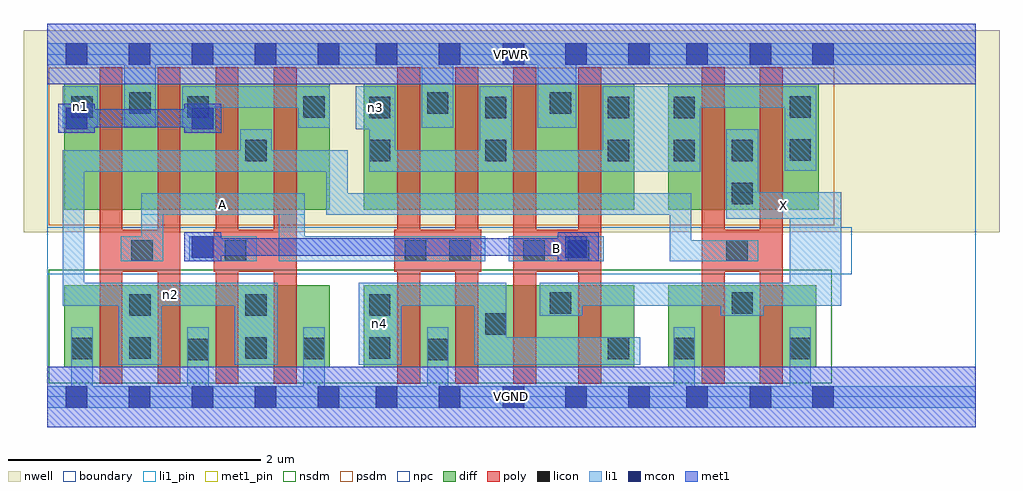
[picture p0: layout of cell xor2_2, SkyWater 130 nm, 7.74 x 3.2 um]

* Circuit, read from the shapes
.subckt xor2_2 A B VGND VPWR X n1 n2 n3 n4
XM1 n2 A VGND VSUBS sky130_fd_pr__nfet_01v8 w=0.65 l=0.18 m=2
XM2 n2 B VGND VSUBS sky130_fd_pr__nfet_01v8 w=0.65 l=0.18 m=2
XM3 VGND A n4 VSUBS sky130_fd_pr__nfet_01v8 w=0.65 l=0.18 m=2
XM4 X B n4 VSUBS sky130_fd_pr__nfet_01v8 w=0.65 l=0.18 m=2
XM5 X n2 VGND VSUBS sky130_fd_pr__nfet_01v8 w=0.65 l=0.18 m=2
XM6 VPWR A n1 n5 sky130_fd_pr__pfet_01v8 w=1 l=0.18 m=2
XM7 n2 B n1 n5 sky130_fd_pr__pfet_01v8 w=1 l=0.18 m=2
XM8 VPWR A n3 n5 sky130_fd_pr__pfet_01v8 w=1 l=0.18 m=2
XM9 VPWR B n3 n5 sky130_fd_pr__pfet_01v8 w=1 l=0.18 m=2
XM10 X n2 n3 n5 sky130_fd_pr__pfet_01v8 w=1 l=0.18 m=2
.ends

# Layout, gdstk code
import gdstk
lib = gdstk.Library(unit=1e-6, precision=1e-09)
def R(c, l, rs):  # rectangles x0, y0, x1, y1
    for r in rs: c.add(gdstk.rectangle(r[:2], r[2:], *l))
def A(c, l, x, y, w, h, nx, ny, dx, dy):  # array of equal rectangles
    R(c, l, [(x+i*dx, y+j*dy, x+i*dx+w, y+j*dy+h) for i in range(nx) for j in range(ny)])
nwell = (64, 20)
diff = (65, 20)
poly = (66, 20)
licon = (66, 44)
li1_pin = (67, 16)
li1 = (67, 20)
mcon = (67, 44)
met1_pin = (68, 16)
met1 = (68, 20)
nsdm = (93, 44)
psdm = (94, 20)
npc = (95, 20)
boundary = (235, 4)

xor2_2 = lib.new_cell('xor2_2')
R(xor2_2, nwell, [(-0.19,1.305,7.55,2.91), (0,1.305,7.36,2.91)])
R(xor2_2, diff, [(0.135,0.235,2.24,0.885), (2.51,0.235,4.655,0.885), (4.925,0.235,6.095,0.885), (0.135,1.485,2.24,2.485), (2.51,1.485,4.655,2.485), (4.925,1.485,6.115,2.485)])
A(xor2_2, poly, 0.415, 0.105, 0.18, 2.51, 4, 1, 0.46, 0)
A(xor2_2, poly, 2.775, 0.105, 0.18, 2.51, 3, 1, 0.46, 0)
R(xor2_2, poly, [(4.21,0.105,4.39,2.615), (5.19,0.105,5.37,2.615), (5.65,0.105,5.83,2.615), (0.415,0.995,1.055,1.325), (1.32,0.995,1.975,1.325), (2.75,0.995,3.44,1.325), (3.695,0.995,4.39,1.325), (5.19,0.995,5.83,1.325)])
A(xor2_2, licon, 0.19, 2.215, 0.17, 0.17, 3, 1, 0.92, 0)
R(xor2_2, licon, [(1.11,0.29,1.28,0.46), (3.01,0.29,3.18,0.46), (0.19,0.3,0.36,0.47), (2.03,0.3,2.2,0.47), (4.445,0.3,4.615,0.47), (4.965,0.3,5.135,0.47), (5.885,0.3,6.055,0.47), (0.65,0.305,0.82,0.475), (1.57,0.305,1.74,0.475), (2.55,0.305,2.72,0.475), (3.47,0.495,3.64,0.665), (0.65,0.645,0.82,0.815), (1.57,0.645,1.74,0.815), (2.55,0.645,2.72,0.815), (3.985,0.66,4.155,0.83), (5.425,0.66,5.595,0.83), (0.665,1.075,0.835,1.245), (1.405,1.075,1.575,1.245), (2.835,1.075,3.005,1.245), (3.185,1.075,3.355,1.245), (3.775,1.075,3.945,1.245), (4.125,1.075,4.295,1.245), (5.385,1.075,5.555,1.245), (5.425,1.53,5.595,1.7), (1.57,1.87,1.74,2.04), (2.55,1.87,2.72,2.04), (3.47,1.87,3.64,2.04), (4.445,1.87,4.615,2.04), (4.965,1.87,5.135,2.04), (5.425,1.87,5.595,2.04), (5.885,1.875,6.055,2.045), (2.55,2.21,2.72,2.38), (3.47,2.21,3.64,2.38), (4.445,2.21,4.615,2.38), (4.965,2.21,5.135,2.38), (5.885,2.215,6.055,2.385), (0.65,2.245,0.82,2.415), (3.01,2.245,3.18,2.415), (3.985,2.245,4.155,2.415)])
R(xor2_2, li1_pin, [(3.66,1.075,4.41,1.275), (5.385,1.415,6.295,1.625), (0.745,1.445,2.04,1.615)])
A(xor2_2, li1, 0.19, -0.085, 0.17, 0.64, 3, 1, 0.92, 0)
R(xor2_2, li1, [(0,-0.085,7.36,0.085), (3.01,-0.085,3.18,0.555), (4.965,-0.085,5.135,0.555), (5.885,-0.085,6.055,0.555), (0.565,0.255,0.905,0.905), (1.485,0.255,1.825,0.905), (2.47,0.255,2.805,0.905), (3.385,0.255,4.7,0.475), (3.385,0.255,3.64,0.905), (3.905,0.645,4.24,0.905), (5.34,0.645,5.68,0.905), (0.12,0.725,1.825,0.905), (0.12,0.725,0.29,1.955), (2.47,0.725,3.64,0.905), (3.905,0.725,6.295,0.905), (5.885,0.725,6.295,1.625), (0.58,1.075,0.92,1.275), (0.745,1.075,0.92,1.615), (1.125,1.075,1.66,1.275), (1.835,1.075,3.47,1.275), (1.835,1.075,2.04,1.615), (3.66,1.075,4.41,1.275), (4.935,1.075,5.635,1.245), (4.935,1.075,5.105,1.615), (5.385,1.415,5.635,2.125), (5.385,1.415,6.295,1.625), (0.745,1.445,2.04,1.615), (2.21,1.445,5.105,1.615), (2.21,1.445,2.38,1.955), (0.12,1.785,2.38,1.955), (1.53,1.785,1.78,2.125), (2.55,1.785,5.175,1.955), (2.55,1.785,2.76,2.465), (3.43,1.785,3.68,2.465), (4.405,1.785,5.175,2.465), (5.845,1.795,6.095,2.465), (0.145,2.125,0.315,2.465), (1.145,2.125,1.315,2.465), (2.445,2.125,2.76,2.465), (0.12,2.135,0.4,2.465), (0.61,2.135,0.86,2.805), (1.07,2.135,1.32,2.465), (1.99,2.135,2.24,2.465), (2.97,2.135,3.22,2.805), (3.89,2.135,4.195,2.805), (1.07,2.295,2.24,2.465), (4.405,2.295,6.095,2.465), (0,2.635,7.36,2.805)])
A(xor2_2, mcon, 0.145, -0.085, 0.17, 0.17, 5, 2, 0.5, 2.72)
R(xor2_2, mcon, [(2.605,-0.085,2.775,0.085), (3.105,-0.085,3.275,0.085), (3.61,-0.085,3.78,0.085), (4.105,-0.085,4.275,0.085), (4.605,-0.085,4.775,0.085), (5.065,-0.085,5.235,0.085), (5.57,-0.085,5.74,0.085), (6.065,-0.085,6.235,0.085), (1.145,1.105,1.315,1.275), (4.105,1.105,4.275,1.275), (0.145,2.125,0.315,2.295), (1.145,2.125,1.315,2.295), (2.605,2.635,2.775,2.805), (3.105,2.635,3.275,2.805), (3.61,2.635,3.78,2.805), (4.105,2.635,4.275,2.805), (4.605,2.635,4.775,2.805), (5.065,2.635,5.235,2.805), (5.57,2.635,5.74,2.805), (6.065,2.635,6.235,2.805)])
R(xor2_2, met1_pin, [(0,-0.24,7.36,0.24), (0,2.48,7.36,2.96)])
R(xor2_2, met1, [(0,-0.24,7.36,0.24), (1.085,1.075,1.38,1.305), (4.045,1.075,4.37,1.305), (1.085,1.12,4.37,1.26), (0.085,2.095,0.375,2.325), (1.085,2.095,1.38,2.325), (0.085,2.14,1.38,2.28), (0,2.48,7.36,2.96)])
R(xor2_2, nsdm, [(0.01,0.11,6.22,1.01)])
R(xor2_2, psdm, [(0.01,1.36,6.24,2.61)])
R(xor2_2, npc, [(0,0.975,6.38,1.345)])
R(xor2_2, boundary, [(0,0,7.36,2.72)])
xor2_2.add(gdstk.Label('A', (1.392,1.53), layer=67, texttype=5))
xor2_2.add(gdstk.Label('B', (4.035,1.175), layer=67, texttype=5))
xor2_2.add(gdstk.Label('X', (5.84,1.52), layer=67, texttype=5))
xor2_2.add(gdstk.Label('n4', (2.637,0.58), layer=67, texttype=5))
xor2_2.add(gdstk.Label('n2', (0.972,0.815), layer=67, texttype=5))
xor2_2.add(gdstk.Label('n1', (0.26,2.3), layer=67, texttype=5))
xor2_2.add(gdstk.Label('n3', (2.602,2.295), layer=67, texttype=5))
xor2_2.add(gdstk.Label('VPWR', (3.68,2.72), layer=68, texttype=5))
xor2_2.add(gdstk.Label('VGND', (3.68,0), layer=68, texttype=5))
xor2_2.add(gdstk.Label('A', (1.392,1.53), layer=67, texttype=16))
xor2_2.add(gdstk.Label('B', (4.035,1.175), layer=67, texttype=16))
xor2_2.add(gdstk.Label('X', (5.84,1.52), layer=67, texttype=16))
xor2_2.add(gdstk.Label('VPWR', (3.68,2.72), layer=68, texttype=16))
xor2_2.add(gdstk.Label('VGND', (3.68,0), layer=68, texttype=16))

lib.write_gds('xor2_2.gds')
